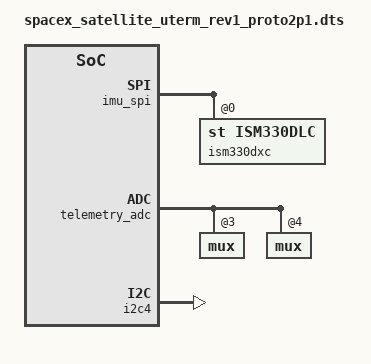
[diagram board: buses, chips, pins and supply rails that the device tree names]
/*
 * Copyright (C) 2018 STMicroelectronics (R&D) Limited.
 * Author: Nicolas Toromanoff <nicolas.toromanoff@st.com>
 *
 * This program is free software; you can redistribute it and/or modify
 * it under the terms of the GNU General Public License version 2 as
 * published by the Free Software Foundation.
 */

/dts-v1/;
#include "spacex_satellite_uterm_production.dtsi"

/ {
	aliases {
		i2c4 = &i2c4;
	};

	gpios {
		/*
		 * WiFi.
		 */
		factory_rst   = <&pio21 6>;

		/*
		 * Reset.
		 */
		self_reset = <&pio21 5 1>;   /* 0=reset*/

		/*
		 * Shiraz. (DBFs)
		 */
		dbf_v0p9_ok   = <&pio31 1>;

		/*
		 * Peanuts. (FEMs)
		 */
		fem_v1p8_ok   = <&pio31 0>;

		/*
		 * Actuator Control. Motors are swapped on Proto 2s.
		 */
		motor1_nsleep = <&pio20 7 0>; /* 0=sleep_mode */
		motor1_ph     = <&pio20 6 0>; /* 0=reverse, 1=fwd */
		motor1_nfault = <&pio20 3>;   /* 0=at_fault */

		motor2_nsleep = <&pio20 0 0>; /* 0=sleep_mode */
		motor2_ph     = <&pio20 5 0>; /* 0=reverse, 1=fwd */
		motor2_nfault = <&pio22 2>;   /* 0=at_fault */
	};

	pwms {
		/*
		 * Actuator control motors. Motors are swapped on Proto 2s.
		 */
		motor1        = <&pwm0 3>;
		motor2        = <&pwm0 2>;
	};

	soc {
		/*
		 * IMU sensor.  It is a different model on this board.
		 */
		imu_spi: spi2@8830000 {
			ism330dxc@0 {
				compatible = "st,ism330dlc";
			};
		};

		/*
		 * ADC temp sensors, voltage, and current monitors.
		 *
		 * Proto1 has 2 muxes on channels 3 and 4.
		 */
		telemetry_adc: sti_adc@8900000 {
			vref-external = <1800>; /* 1.8v external reference */
			use-external = <0 0 0 0 0 0 0 1>;

			mux-gpio = <&pio12 4 0>,
				   <&pio12 6 0>,
				   <&pio12 7 0>;

			mux@3 {
				input-channel = <3>;
				vchan-count = <8>;
			};
			mux@4 {
				input-channel = <4>;
				vchan-count = <8>;
			};
		};

		/*
		 * I2C4 (SCL:PIO23[3],SDA:PIO23[4]) for talking to STSAFE IC.
		 */
		i2c4: i2c4@8910000 {
			status = "okay";
		};
	};
};
